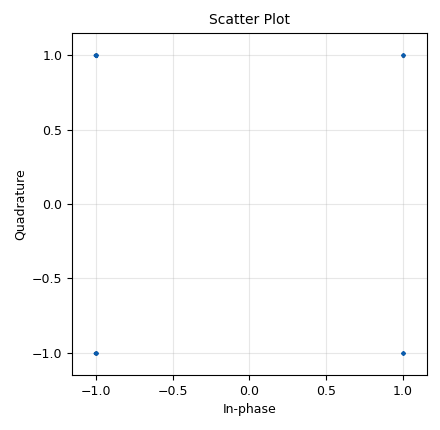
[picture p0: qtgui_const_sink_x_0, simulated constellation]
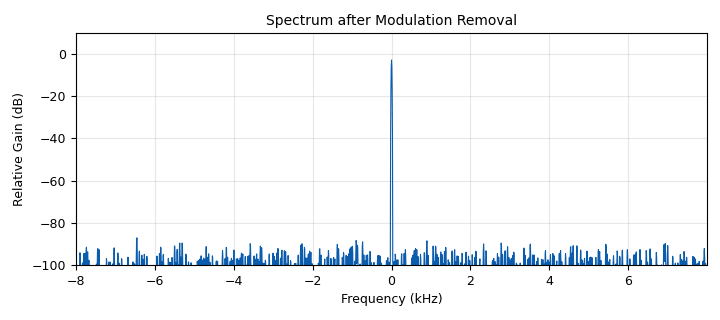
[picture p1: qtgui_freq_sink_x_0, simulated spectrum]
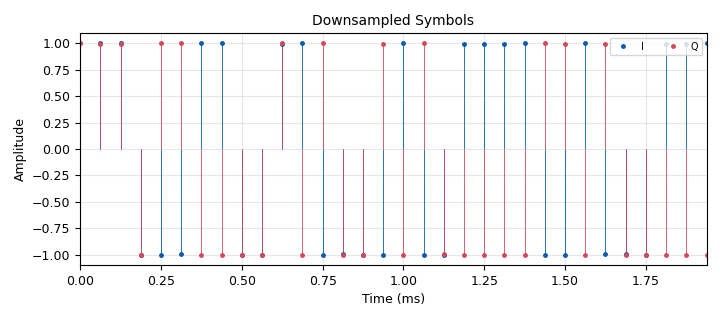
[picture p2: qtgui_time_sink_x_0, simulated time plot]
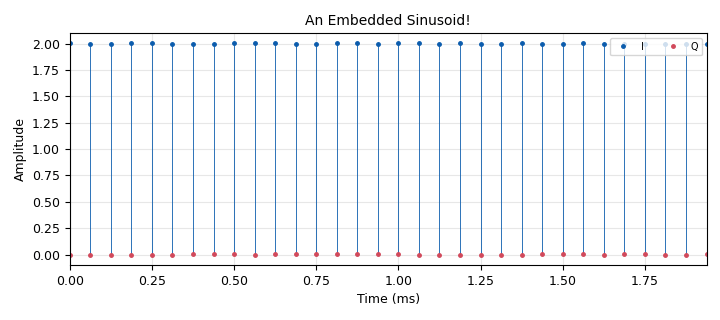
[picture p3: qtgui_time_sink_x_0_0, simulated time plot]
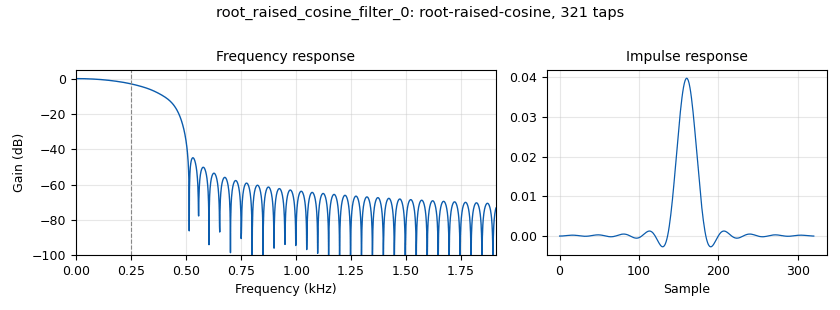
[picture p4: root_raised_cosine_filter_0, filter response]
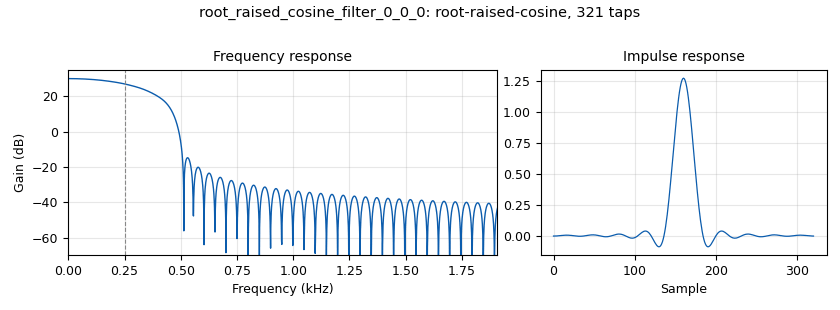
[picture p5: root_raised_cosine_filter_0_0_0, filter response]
options:
  parameters:
    author: Qasim Chaudhari
    generate_options: qt_gui
    id: conjugate_product
    output_language: python
    title: Conjugate Product
  states: {}

blocks:
- name: downsampleDelay
  id: variable
  parameters:
    value: '1'
  states: {}
- name: excess_bw
  id: variable
  parameters:
    value: '1'
  states: {}
- name: freq_offset
  id: variable_qtgui_range
  parameters:
    gui_hint: 0,0,1,2
    label: Frequency Offset
    orient: Qt.Horizontal
    start: '-samp_rate/2'
    step: '1000'
    stop: samp_rate/2
    value: '0'
  states: {}
- name: samp_per_sym
  id: variable
  parameters:
    value: '32'
  states: {}
- name: samp_rate
  id: variable
  parameters:
    value: '16000'
  states: {}
- name: analog_random_source_x_0
  id: analog_random_source_x
  parameters:
    comment: Bits Generation
    max: '2'
    min: '0'
    num_samps: '1000'
    repeat: 'True'
    type: byte
  states: {}
- name: analog_sig_source_x_0
  id: analog_sig_source_x
  parameters:
    amp: '1'
    comment: Carrier Frequency Offset
    freq: float(freq_offset)/float(samp_per_sym)
    offset: '0'
    phase: '0'
    samp_rate: samp_rate
    type: complex
    waveform: analog.GR_COS_WAVE
  states: {}
- name: blocks_char_to_float_0
  id: blocks_char_to_float
  parameters:
    scale: '1'
  states: {}
- name: blocks_char_to_float_0_0
  id: blocks_char_to_float
  parameters:
    scale: '1'
  states: {}
- name: blocks_delay_0
  id: blocks_delay
  parameters:
    delay: '9'
    type: complex
  states: {}
- name: blocks_float_to_complex_1
  id: blocks_float_to_complex
  parameters: {}
  states: {}
- name: blocks_keep_one_in_n_0
  id: blocks_keep_one_in_n
  parameters:
    n: samp_per_sym
    type: complex
  states: {}
- name: blocks_multiply_conjugate_cc_0
  id: blocks_multiply_conjugate_cc
  parameters:
    comment: Modulation Removal
  states: {}
- name: blocks_multiply_xx_0
  id: blocks_multiply_xx
  parameters:
    type: complex
  states: {}
- name: blocks_pack_k_bits_bb_0
  id: blocks_pack_k_bits_bb
  parameters:
    k: int(np.log2(4))
  states: {}
- name: blocks_skiphead_0
  id: blocks_skiphead
  parameters:
    num_items: downsampleDelay
    type: complex
  states: {}
- name: blocks_throttle_0
  id: blocks_throttle
  parameters:
    samples_per_second: samp_rate
    type: byte
  states: {}
- name: digital_map_bb_0
  id: digital_map_bb
  parameters:
    comment: Look-Up Table I
    map: (1,-1,1,-1)
  states: {}
- name: digital_map_bb_0_0
  id: digital_map_bb
  parameters:
    comment: Look-Up Table Q
    map: (1,1,-1,-1)
  states: {}
- name: import_0
  id: import
  parameters:
    imports: import numpy as np; import math
  states: {}
- name: note_0_1
  id: note
  parameters:
    note: Downsampler
  states: {}
- name: qtgui_const_sink_x_0
  id: qtgui_const_sink_x
  parameters:
    autoscale: 'True'
    grid: 'True'
    gui_hint: 1,0,1,1
    legend: 'False'
    name: Scatter Plot
    size: '100'
    type: complex
  states: {}
- name: qtgui_freq_sink_x_0
  id: qtgui_freq_sink_x
  parameters:
    bw: samp_rate
    fc: '0'
    fftsize: '2048'
    grid: 'True'
    gui_hint: 1,2,1,1
    legend: 'False'
    name: Spectrum after Modulation Removal
    type: complex
    wintype: firdes.WIN_BLACKMAN_hARRIS
    ymin: '-100'
  states: {}
- name: qtgui_time_sink_x_0
  id: qtgui_time_sink_x
  parameters:
    autoscale: 'True'
    grid: 'True'
    gui_hint: 0,2,1,1
    label1: I
    label2: Q
    marker1: '0'
    marker2: '1'
    name: Downsampled Symbols
    size: samp_per_sym
    srate: samp_rate
    stemplot: 'True'
    type: complex
    width1: '2'
  states: {}
- name: qtgui_time_sink_x_0_0
  id: qtgui_time_sink_x
  parameters:
    autoscale: 'True'
    grid: 'True'
    gui_hint: 1,1,1,1
    label1: I
    label2: Q
    marker1: '0'
    marker2: '1'
    name: An Embedded Sinusoid!
    size: samp_per_sym
    srate: samp_rate
    stemplot: 'True'
    type: complex
    width1: '2'
  states: {}
- name: root_raised_cosine_filter_0
  id: root_raised_cosine_filter
  parameters:
    alpha: excess_bw
    comment: Matched Filter
    decim: '1'
    gain: '1'
    ntaps: 10*samp_per_sym+1
    samp_rate: samp_rate
    sym_rate: samp_rate/samp_per_sym
    type: fir_filter_ccf
  states: {}
- name: root_raised_cosine_filter_0_0_0
  id: root_raised_cosine_filter
  parameters:
    alpha: excess_bw
    comment: Pulse Shaping Filter
    gain: samp_per_sym
    interp: samp_per_sym
    ntaps: 10*samp_per_sym+1
    samp_rate: samp_rate
    sym_rate: samp_rate/samp_per_sym
    type: interp_fir_filter_ccf
  states: {}

connections:
- [analog_random_source_x_0, '0', blocks_throttle_0, '0']
- [analog_sig_source_x_0, '0', blocks_multiply_xx_0, '0']
- [blocks_char_to_float_0, '0', blocks_float_to_complex_1, '0']
- [blocks_char_to_float_0_0, '0', blocks_float_to_complex_1, '1']
- [blocks_delay_0, '0', blocks_multiply_conjugate_cc_0, '1']
- [blocks_float_to_complex_1, '0', blocks_delay_0, '0']
- [blocks_float_to_complex_1, '0', root_raised_cosine_filter_0_0_0, '0']
- [blocks_keep_one_in_n_0, '0', blocks_multiply_conjugate_cc_0, '0']
- [blocks_keep_one_in_n_0, '0', qtgui_const_sink_x_0, '0']
- [blocks_keep_one_in_n_0, '0', qtgui_time_sink_x_0, '0']
- [blocks_multiply_conjugate_cc_0, '0', qtgui_freq_sink_x_0, '0']
- [blocks_multiply_conjugate_cc_0, '0', qtgui_time_sink_x_0_0, '0']
- [blocks_multiply_xx_0, '0', root_raised_cosine_filter_0, '0']
- [blocks_pack_k_bits_bb_0, '0', digital_map_bb_0, '0']
- [blocks_pack_k_bits_bb_0, '0', digital_map_bb_0_0, '0']
- [blocks_skiphead_0, '0', blocks_keep_one_in_n_0, '0']
- [blocks_throttle_0, '0', blocks_pack_k_bits_bb_0, '0']
- [digital_map_bb_0, '0', blocks_char_to_float_0, '0']
- [digital_map_bb_0_0, '0', blocks_char_to_float_0_0, '0']
- [root_raised_cosine_filter_0, '0', blocks_skiphead_0, '0']
- [root_raised_cosine_filter_0_0_0, '0', blocks_multiply_xx_0, '1']

metadata:
  file_format: 1
